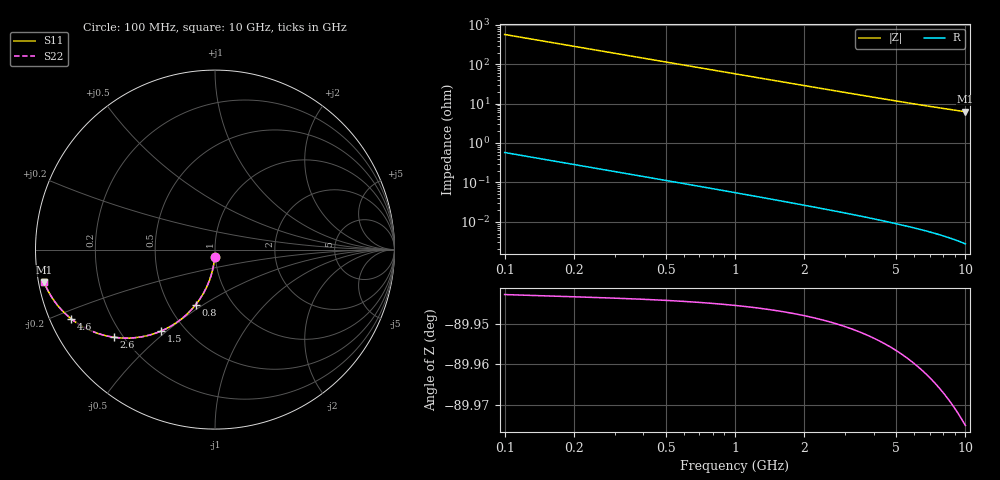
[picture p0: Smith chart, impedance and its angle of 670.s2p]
# Hz S RI R 50.00
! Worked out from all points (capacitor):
!   100 points, 100 MHz to 10 GHz, reference 50 ohm
!   read as one part in shunt: C = 2.77 pF near 100 MHz
!   lowest |Z| = 6.26 ohm at 10 GHz (marker M1)
!   S11 on the Smith chart (normalised r, x): 100 MHz: 0.99, -0.09; 800 MHz: 0.68, -0.47; 1.5 GHz: 0.37, -0.48; 2.6 GHz: 0.17, -0.36; 4.6 GHz: 0.06, -0.23; 10 GHz: 0.02, -0.09
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1e8  -0.0018 -0.0431  0.9979 -0.0437  0.9979 -0.0437  -0.0018 -0.0431
2e8  -0.00745 -0.0857  0.9923 -0.0868  0.9923 -0.0868  -0.00745 -0.0857
3e8  -0.0167 -0.1274  0.983 -0.129  0.983 -0.129  -0.0167 -0.1274
4e8  -0.0294 -0.1676  0.9704 -0.1698  0.9704 -0.1698  -0.0294 -0.1676
5e8  -0.0452 -0.2061  0.9546 -0.2088  0.9546 -0.2088  -0.0452 -0.2061
6e8  -0.0638 -0.2424  0.936 -0.2457  0.936 -0.2457  -0.0638 -0.2424
8e8  -0.108 -0.3079  0.8917 -0.3122  0.8917 -0.3122  -0.108 -0.3079
9e8  -0.1329 -0.3366  0.8668 -0.3415  0.8668 -0.3415  -0.1329 -0.3366
1.1e9  -0.1863 -0.3859  0.8134 -0.3919  0.8134 -0.3919  -0.1863 -0.3859
1.3e9  -0.2423 -0.4245  0.7574 -0.4316  0.7574 -0.4316  -0.2423 -0.4245
1.5e9  -0.2986 -0.4531  0.7011 -0.4613  0.7011 -0.4613  -0.2986 -0.4531
1.8e9  -0.3801 -0.48  0.6195 -0.4899  0.6195 -0.4899  -0.3801 -0.48
2.2e9  -0.4783 -0.493  0.5214 -0.505  0.5214 -0.505  -0.4783 -0.493
2.6e9  -0.5617 -0.4885  0.4379 -0.5028  0.4379 -0.5028  -0.5617 -0.4885
3e9  -0.6307 -0.4738  0.3689 -0.4903  0.3689 -0.4903  -0.6307 -0.4738
3.4e9  -0.6872 -0.4537  0.3124 -0.4724  0.3124 -0.4724  -0.6872 -0.4537
4e9  -0.753 -0.4195  0.2465 -0.4416  0.2465 -0.4416  -0.753 -0.4195
4.6e9  -0.8017 -0.3852  0.1977 -0.4107  0.1977 -0.4107  -0.8017 -0.3852
5.1e9  -0.8328 -0.3581  0.1665 -0.3864  0.1665 -0.3864  -0.8328 -0.3581
6.7e9  -0.8968 -0.2842  0.1022 -0.3218  0.1022 -0.3218  -0.8968 -0.2842
8.4e9  -0.9326 -0.225  0.066 -0.2728  0.066 -0.2728  -0.9326 -0.225
1e10  -0.952 -0.182  0.046 -0.2399  0.046 -0.2399  -0.952 -0.182
